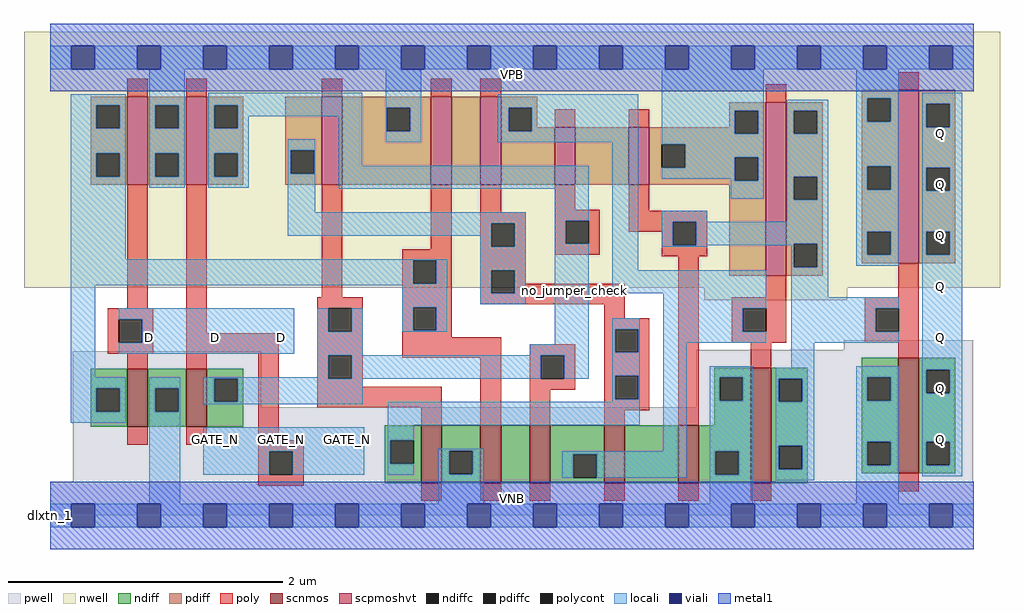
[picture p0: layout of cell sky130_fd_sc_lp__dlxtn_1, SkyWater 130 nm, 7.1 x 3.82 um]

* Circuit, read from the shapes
.subckt sky130_fd_sc_lp__dlxtn_1 D GATE_N VGND VNB VPB VPWR Q
XM1 VGND D n1 VNB sky130_fd_pr__nfet_01v8 w=0.42 l=0.15
XM2 n2 GATE_N VGND VNB sky130_fd_pr__nfet_01v8 w=0.42 l=0.15
XM3 VGND n2 n3 VNB sky130_fd_pr__nfet_01v8 w=0.42 l=0.15
XM4 n4 n1 VGND VNB sky130_fd_pr__nfet_01v8 w=0.42 l=0.15
XM5 n5 n2 n4 VNB sky130_fd_pr__nfet_01v8 w=0.42 l=0.15
XM6 n6 n3 n5 VNB sky130_fd_pr__nfet_01v8 w=0.42 l=0.15
XM7 VGND n7 n6 VNB sky130_fd_pr__nfet_01v8 w=0.42 l=0.15
XM8 n7 n5 VGND VNB sky130_fd_pr__nfet_01v8 w=0.84 l=0.15
XM9 Q n7 VGND VNB sky130_fd_pr__nfet_01v8 w=0.84 l=0.15
XM10 VPWR D n1 VPB sky130_fd_pr__pfet_01v8_hvt w=0.64 l=0.15
XM11 n2 GATE_N VPWR VPB sky130_fd_pr__pfet_01v8_hvt w=0.64 l=0.15
XM12 VPWR n2 n3 VPB sky130_fd_pr__pfet_01v8_hvt w=0.64 l=0.15
XM13 n8 n1 VPWR VPB sky130_fd_pr__pfet_01v8_hvt w=0.64 l=0.15
XM14 n5 n3 n8 VPB sky130_fd_pr__pfet_01v8_hvt w=0.64 l=0.15
XM15 n9 n2 n5 VPB sky130_fd_pr__pfet_01v8_hvt w=0.42 l=0.15
XM16 VPWR n7 n9 VPB sky130_fd_pr__pfet_01v8_hvt w=0.42 l=0.15
XM17 n7 n5 VPWR VPB sky130_fd_pr__pfet_01v8_hvt w=1.26 l=0.15
XM18 Q n7 VPWR VPB sky130_fd_pr__pfet_01v8_hvt w=1.26 l=0.15
.ends

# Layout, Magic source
magic
tech sky130A
magscale 1 2
<< nwell >>
rect -38 331 1382 704
rect 952 313 1160 331
<< pwell >>
rect 1155 241 1343 255
rect 33 157 307 239
rect 940 157 1343 241
rect 33 49 1343 157
rect 0 0 1344 49
<< scnmos >>
rect 112 129 142 213
rect 198 129 228 213
rect 540 47 570 131
rect 626 47 656 131
rect 698 47 728 131
rect 806 47 836 131
rect 914 47 944 131
rect 1019 47 1049 215
rect 1234 61 1264 229
<< scpmoshvt >>
rect 112 481 142 609
rect 198 481 228 609
rect 395 481 425 609
rect 554 481 584 609
rect 626 481 656 609
rect 734 481 764 565
rect 842 481 872 565
rect 1041 349 1071 601
rect 1234 367 1264 619
<< ndiff >>
rect 59 185 112 213
rect 59 151 67 185
rect 101 151 112 185
rect 59 129 112 151
rect 142 185 198 213
rect 142 151 153 185
rect 187 151 198 185
rect 142 129 198 151
rect 228 199 281 213
rect 228 165 239 199
rect 273 165 281 199
rect 228 129 281 165
rect 966 201 1019 215
rect 966 167 974 201
rect 1008 167 1019 201
rect 966 131 1019 167
rect 487 109 540 131
rect 487 75 495 109
rect 529 75 540 109
rect 487 47 540 75
rect 570 94 626 131
rect 570 60 581 94
rect 615 60 626 94
rect 570 47 626 60
rect 656 47 698 131
rect 728 89 806 131
rect 728 55 761 89
rect 795 55 806 89
rect 728 47 806 55
rect 836 47 914 131
rect 944 93 1019 131
rect 944 59 968 93
rect 1002 59 1019 93
rect 944 47 1019 59
rect 1049 199 1102 215
rect 1049 165 1060 199
rect 1094 165 1102 199
rect 1049 101 1102 165
rect 1049 67 1060 101
rect 1094 67 1102 101
rect 1049 47 1102 67
rect 1181 201 1234 229
rect 1181 167 1189 201
rect 1223 167 1234 201
rect 1181 107 1234 167
rect 1181 73 1189 107
rect 1223 73 1234 107
rect 1181 61 1234 73
rect 1264 212 1317 229
rect 1264 178 1275 212
rect 1309 178 1317 212
rect 1264 107 1317 178
rect 1264 73 1275 107
rect 1309 73 1317 107
rect 1264 61 1317 73
<< pdiff >>
rect 59 597 112 609
rect 59 563 67 597
rect 101 563 112 597
rect 59 527 112 563
rect 59 493 67 527
rect 101 493 112 527
rect 59 481 112 493
rect 142 597 198 609
rect 142 563 153 597
rect 187 563 198 597
rect 142 527 198 563
rect 142 493 153 527
rect 187 493 198 527
rect 142 481 198 493
rect 228 597 281 609
rect 228 563 239 597
rect 273 563 281 597
rect 228 527 281 563
rect 228 493 239 527
rect 273 493 281 527
rect 228 481 281 493
rect 342 531 395 609
rect 342 497 350 531
rect 384 497 395 531
rect 342 481 395 497
rect 425 593 554 609
rect 425 559 490 593
rect 524 559 554 593
rect 425 481 554 559
rect 584 481 626 609
rect 656 593 709 609
rect 1181 607 1234 619
rect 656 559 667 593
rect 701 565 709 593
rect 988 589 1041 601
rect 988 565 996 589
rect 701 559 734 565
rect 656 481 734 559
rect 764 481 842 565
rect 872 555 996 565
rect 1030 555 1041 589
rect 872 540 1041 555
rect 872 506 890 540
rect 924 521 1041 540
rect 924 506 996 521
rect 872 487 996 506
rect 1030 487 1041 521
rect 872 481 1041 487
rect 988 349 1041 481
rect 1071 589 1124 601
rect 1071 555 1082 589
rect 1116 555 1124 589
rect 1071 493 1124 555
rect 1071 459 1082 493
rect 1116 459 1124 493
rect 1071 395 1124 459
rect 1071 361 1082 395
rect 1116 361 1124 395
rect 1181 573 1189 607
rect 1223 573 1234 607
rect 1181 508 1234 573
rect 1181 474 1189 508
rect 1223 474 1234 508
rect 1181 413 1234 474
rect 1181 379 1189 413
rect 1223 379 1234 413
rect 1181 367 1234 379
rect 1264 599 1317 619
rect 1264 565 1275 599
rect 1309 565 1317 599
rect 1264 506 1317 565
rect 1264 472 1275 506
rect 1309 472 1317 506
rect 1264 413 1317 472
rect 1264 379 1275 413
rect 1309 379 1317 413
rect 1264 367 1317 379
rect 1071 349 1124 361
<< ndiffc >>
rect 67 151 101 185
rect 153 151 187 185
rect 239 165 273 199
rect 974 167 1008 201
rect 495 75 529 109
rect 581 60 615 94
rect 761 55 795 89
rect 968 59 1002 93
rect 1060 165 1094 199
rect 1060 67 1094 101
rect 1189 167 1223 201
rect 1189 73 1223 107
rect 1275 178 1309 212
rect 1275 73 1309 107
<< pdiffc >>
rect 67 563 101 597
rect 67 493 101 527
rect 153 563 187 597
rect 153 493 187 527
rect 239 563 273 597
rect 239 493 273 527
rect 350 497 384 531
rect 490 559 524 593
rect 667 559 701 593
rect 996 555 1030 589
rect 890 506 924 540
rect 996 487 1030 521
rect 1082 555 1116 589
rect 1082 459 1116 493
rect 1082 361 1116 395
rect 1189 573 1223 607
rect 1189 474 1223 508
rect 1189 379 1223 413
rect 1275 565 1309 599
rect 1275 472 1309 506
rect 1275 379 1309 413
<< poly >>
rect 112 609 142 635
rect 198 609 228 635
rect 395 609 425 635
rect 554 609 584 635
rect 626 609 656 635
rect 1041 601 1071 627
rect 1234 619 1264 645
rect 734 565 764 591
rect 842 565 872 591
rect 112 301 142 481
rect 84 285 150 301
rect 84 251 100 285
rect 134 251 150 285
rect 84 235 150 251
rect 198 265 228 481
rect 395 317 425 481
rect 554 387 584 481
rect 512 371 584 387
rect 512 337 528 371
rect 562 337 584 371
rect 389 301 455 317
rect 389 267 405 301
rect 439 267 455 301
rect 198 235 333 265
rect 112 213 142 235
rect 198 213 228 235
rect 112 103 142 129
rect 198 103 228 129
rect 303 109 333 235
rect 389 233 455 267
rect 389 199 405 233
rect 439 199 455 233
rect 512 303 584 337
rect 626 441 656 481
rect 734 445 764 481
rect 626 425 692 441
rect 626 391 642 425
rect 676 391 692 425
rect 626 357 692 391
rect 734 429 800 445
rect 734 395 750 429
rect 784 395 800 429
rect 842 443 872 481
rect 842 427 956 443
rect 842 413 906 427
rect 734 379 800 395
rect 890 393 906 413
rect 940 393 956 427
rect 890 377 956 393
rect 626 323 642 357
rect 676 337 692 357
rect 676 323 836 337
rect 626 307 836 323
rect 512 269 528 303
rect 562 269 584 303
rect 512 259 584 269
rect 806 287 836 307
rect 806 271 872 287
rect 512 229 656 259
rect 389 187 455 199
rect 389 157 570 187
rect 540 131 570 157
rect 626 131 656 229
rect 698 233 764 249
rect 698 199 714 233
rect 748 199 764 233
rect 698 183 764 199
rect 806 237 822 271
rect 856 237 872 271
rect 806 203 872 237
rect 698 131 728 183
rect 806 169 822 203
rect 856 169 872 203
rect 806 153 872 169
rect 806 131 836 153
rect 914 131 944 377
rect 1041 317 1071 349
rect 1234 317 1264 367
rect 992 301 1071 317
rect 992 267 1008 301
rect 1042 267 1071 301
rect 992 251 1071 267
rect 1185 301 1264 317
rect 1185 267 1201 301
rect 1235 267 1264 301
rect 1185 251 1264 267
rect 1019 215 1049 251
rect 1234 229 1264 251
rect 303 93 369 109
rect 303 59 319 93
rect 353 59 369 93
rect 303 43 369 59
rect 540 21 570 47
rect 626 21 656 47
rect 698 21 728 47
rect 806 21 836 47
rect 914 21 944 47
rect 1019 21 1049 47
rect 1234 35 1264 61
<< polycont >>
rect 100 251 134 285
rect 528 337 562 371
rect 405 267 439 301
rect 405 199 439 233
rect 642 391 676 425
rect 750 395 784 429
rect 906 393 940 427
rect 642 323 676 357
rect 528 269 562 303
rect 714 199 748 233
rect 822 237 856 271
rect 822 169 856 203
rect 1008 267 1042 301
rect 1201 267 1235 301
rect 319 59 353 93
<< locali >>
rect 0 649 31 683
rect 65 649 127 683
rect 161 649 223 683
rect 257 649 319 683
rect 353 649 415 683
rect 449 649 511 683
rect 545 649 607 683
rect 641 649 703 683
rect 737 649 799 683
rect 833 649 895 683
rect 929 649 991 683
rect 1025 649 1087 683
rect 1121 649 1183 683
rect 1217 649 1279 683
rect 1313 649 1344 683
rect 30 597 110 613
rect 30 563 67 597
rect 101 563 110 597
rect 30 527 110 563
rect 30 493 67 527
rect 101 493 110 527
rect 30 373 110 493
rect 144 597 196 649
rect 144 563 153 597
rect 187 563 196 597
rect 144 527 196 563
rect 144 493 153 527
rect 187 493 196 527
rect 144 477 196 493
rect 230 597 454 615
rect 230 563 239 597
rect 273 581 454 597
rect 273 563 289 581
rect 230 527 289 563
rect 230 493 239 527
rect 273 493 289 527
rect 230 477 289 493
rect 346 531 386 547
rect 346 497 350 531
rect 384 497 386 531
rect 346 441 386 497
rect 420 509 454 581
rect 488 593 540 649
rect 488 559 490 593
rect 524 559 540 593
rect 488 543 540 559
rect 651 593 856 613
rect 651 559 667 593
rect 701 559 856 593
rect 651 543 856 559
rect 420 475 784 509
rect 346 425 692 441
rect 346 407 642 425
rect 626 391 642 407
rect 676 391 692 425
rect 30 371 578 373
rect 30 337 528 371
rect 562 337 578 371
rect 30 335 578 337
rect 30 201 66 335
rect 512 303 578 335
rect 626 357 692 391
rect 626 323 642 357
rect 676 323 692 357
rect 626 307 692 323
rect 734 429 784 475
rect 734 395 750 429
rect 100 285 355 301
rect 134 251 355 285
rect 100 235 355 251
rect 389 267 405 301
rect 439 267 455 301
rect 512 269 528 303
rect 562 269 578 303
rect 512 267 578 269
rect 389 233 455 267
rect 734 249 784 395
rect 818 357 856 543
rect 890 589 1038 649
rect 1173 607 1235 649
rect 890 555 996 589
rect 1030 555 1038 589
rect 890 540 1038 555
rect 924 521 1038 540
rect 924 506 996 521
rect 890 490 996 506
rect 990 487 996 490
rect 1030 487 1038 521
rect 990 461 1038 487
rect 1072 589 1132 605
rect 1072 555 1082 589
rect 1116 555 1132 589
rect 1072 493 1132 555
rect 1072 459 1082 493
rect 1116 459 1132 493
rect 890 427 956 443
rect 1072 427 1132 459
rect 890 393 906 427
rect 940 395 1132 427
rect 940 393 1082 395
rect 890 391 956 393
rect 1078 361 1082 393
rect 1116 361 1132 395
rect 1173 573 1189 607
rect 1223 573 1235 607
rect 1173 508 1235 573
rect 1173 474 1189 508
rect 1223 474 1235 508
rect 1173 413 1235 474
rect 1173 379 1189 413
rect 1223 379 1235 413
rect 1173 363 1235 379
rect 1269 599 1327 615
rect 1269 565 1275 599
rect 1309 565 1327 599
rect 1269 506 1327 565
rect 1269 472 1275 506
rect 1309 472 1327 506
rect 1269 413 1327 472
rect 1269 379 1275 413
rect 1309 379 1327 413
rect 818 323 1042 357
rect 892 301 1042 323
rect 698 233 784 249
rect 389 201 405 233
rect 30 185 110 201
rect 30 151 67 185
rect 101 151 110 185
rect 30 135 110 151
rect 144 185 189 201
rect 144 151 153 185
rect 187 151 189 185
rect 223 199 405 201
rect 439 199 714 233
rect 748 199 784 233
rect 818 271 858 287
rect 818 237 822 271
rect 856 237 858 271
rect 818 203 858 237
rect 223 165 239 199
rect 273 165 455 199
rect 818 169 822 203
rect 856 169 858 203
rect 818 165 858 169
rect 223 162 455 165
rect 144 17 189 151
rect 491 131 858 165
rect 892 267 1008 301
rect 892 251 1042 267
rect 1078 317 1132 361
rect 1078 301 1235 317
rect 1078 267 1201 301
rect 1078 251 1235 267
rect 223 93 457 128
rect 223 59 319 93
rect 353 59 457 93
rect 491 109 529 131
rect 491 75 495 109
rect 491 59 529 75
rect 565 94 631 97
rect 565 60 581 94
rect 615 60 631 94
rect 892 93 926 251
rect 565 17 631 60
rect 745 89 926 93
rect 745 55 761 89
rect 795 55 926 89
rect 960 201 1022 217
rect 1078 215 1112 251
rect 960 167 974 201
rect 1008 167 1022 201
rect 960 93 1022 167
rect 960 59 968 93
rect 1002 59 1022 93
rect 960 17 1022 59
rect 1056 199 1112 215
rect 1056 165 1060 199
rect 1094 165 1112 199
rect 1056 101 1112 165
rect 1056 67 1060 101
rect 1094 67 1112 101
rect 1056 51 1112 67
rect 1173 201 1235 217
rect 1173 167 1189 201
rect 1223 167 1235 201
rect 1173 107 1235 167
rect 1173 73 1189 107
rect 1223 73 1235 107
rect 1173 17 1235 73
rect 1269 212 1327 379
rect 1269 178 1275 212
rect 1309 178 1327 212
rect 1269 107 1327 178
rect 1269 73 1275 107
rect 1309 73 1327 107
rect 1269 57 1327 73
rect 0 -17 31 17
rect 65 -17 127 17
rect 161 -17 223 17
rect 257 -17 319 17
rect 353 -17 415 17
rect 449 -17 511 17
rect 545 -17 607 17
rect 641 -17 703 17
rect 737 -17 799 17
rect 833 -17 895 17
rect 929 -17 991 17
rect 1025 -17 1087 17
rect 1121 -17 1183 17
rect 1217 -17 1279 17
rect 1313 -17 1344 17
<< viali >>
rect 31 649 65 683
rect 127 649 161 683
rect 223 649 257 683
rect 319 649 353 683
rect 415 649 449 683
rect 511 649 545 683
rect 607 649 641 683
rect 703 649 737 683
rect 799 649 833 683
rect 895 649 929 683
rect 991 649 1025 683
rect 1087 649 1121 683
rect 1183 649 1217 683
rect 1279 649 1313 683
rect 31 -17 65 17
rect 127 -17 161 17
rect 223 -17 257 17
rect 319 -17 353 17
rect 415 -17 449 17
rect 511 -17 545 17
rect 607 -17 641 17
rect 703 -17 737 17
rect 799 -17 833 17
rect 895 -17 929 17
rect 991 -17 1025 17
rect 1087 -17 1121 17
rect 1183 -17 1217 17
rect 1279 -17 1313 17
<< metal1 >>
rect 0 683 1344 715
rect 0 649 31 683
rect 65 649 127 683
rect 161 649 223 683
rect 257 649 319 683
rect 353 649 415 683
rect 449 649 511 683
rect 545 649 607 683
rect 641 649 703 683
rect 737 649 799 683
rect 833 649 895 683
rect 929 649 991 683
rect 1025 649 1087 683
rect 1121 649 1183 683
rect 1217 649 1279 683
rect 1313 649 1344 683
rect 0 617 1344 649
rect 0 17 1344 49
rect 0 -17 31 17
rect 65 -17 127 17
rect 161 -17 223 17
rect 257 -17 319 17
rect 353 -17 415 17
rect 449 -17 511 17
rect 545 -17 607 17
rect 641 -17 703 17
rect 737 -17 799 17
rect 833 -17 895 17
rect 929 -17 991 17
rect 1025 -17 1087 17
rect 1121 -17 1183 17
rect 1217 -17 1279 17
rect 1313 -17 1344 17
rect 0 -49 1344 -17
<< labels >>
flabel pwell s 0 0 1344 49 0 FreeSans 200 0 0 0 VNB
port 4 nsew ground bidirectional
flabel nwell s 0 617 1344 666 0 FreeSans 200 0 0 0 VPB
port 5 nsew power bidirectional
rlabel comment s 0 0 0 0 4 dlxtn_1
flabel comment s 763 327 763 327 0 FreeSans 200 0 0 0 no_jumper_check
flabel metal1 s 0 617 1344 666 0 FreeSans 340 0 0 0 VPWR
port 6 nsew power bidirectional
flabel metal1 s 0 0 1344 49 0 FreeSans 340 0 0 0 VGND
port 3 nsew ground bidirectional
flabel locali s 127 242 161 276 0 FreeSans 340 0 0 0 D
port 1 nsew signal input
flabel locali s 223 242 257 276 0 FreeSans 340 0 0 0 D
port 1 nsew signal input
flabel locali s 319 242 353 276 0 FreeSans 340 0 0 0 D
port 1 nsew signal input
flabel locali s 223 94 257 128 0 FreeSans 340 0 0 0 GATE_N
port 2 nsew clock input
flabel locali s 319 94 353 128 0 FreeSans 340 0 0 0 GATE_N
port 2 nsew clock input
flabel locali s 415 94 449 128 0 FreeSans 340 0 0 0 GATE_N
port 2 nsew clock input
flabel locali s 1279 94 1313 128 0 FreeSans 340 0 0 0 Q
port 7 nsew signal output
flabel locali s 1279 168 1313 202 0 FreeSans 340 0 0 0 Q
port 7 nsew signal output
flabel locali s 1279 242 1313 276 0 FreeSans 340 0 0 0 Q
port 7 nsew signal output
flabel locali s 1279 316 1313 350 0 FreeSans 340 0 0 0 Q
port 7 nsew signal output
flabel locali s 1279 390 1313 424 0 FreeSans 340 0 0 0 Q
port 7 nsew signal output
flabel locali s 1279 464 1313 498 0 FreeSans 340 0 0 0 Q
port 7 nsew signal output
flabel locali s 1279 538 1313 572 0 FreeSans 340 0 0 0 Q
port 7 nsew signal output
<< properties >>
string LEFsite unit
string LEFclass CORE
string FIXED_BBOX 0 0 1344 666
string GDS_FILE $PDKPATH/libs.ref/sky130_fd_sc_lp/gds/sky130_fd_sc_lp.gds
string LEFsymmetry X Y R90
string GDS_END 626102
string GDS_START 614650
<< end >>
